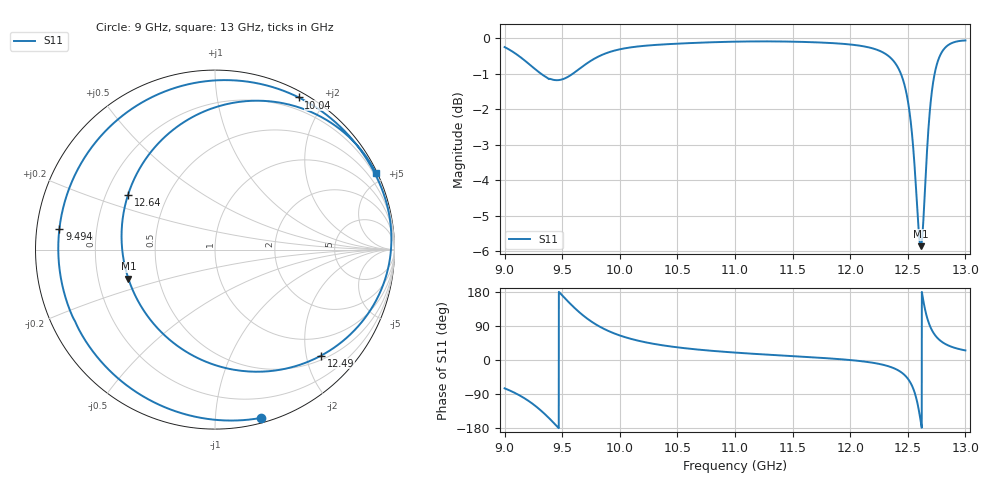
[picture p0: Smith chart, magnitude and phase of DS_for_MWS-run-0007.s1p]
! TOUCHSTONE file generated by CST DESIGN STUDIO
! Date and time: Tue Feb  4 12:42:31 2025
! Project name: C:\Work\MatlabApps\UnitCellOptimizationMatlab\CST\unitcell.cst
! Tree item: Tasks\Sweep1\SPara1\S-Parameters
! Header version: 2024
! Port assignment regex: !\s*Touchstone port\s*([0-9]+)\s*=\s*(CST MWS port|CST DES external port|CST DES block port)\s*(.+)\s* \(\"(.*)\"\)(\s*mode\s*([0-9]+))?.*
! Touchstone port assignment:
! Touchstone port 1 = CST DES external port 1 ("")
# GHz S MA R 50
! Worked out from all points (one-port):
!   4001 points, 9 GHz to 13 GHz, reference 50 ohm
!   lowest |S11| = -5.9 dB at 12.61 GHz (marker M1), VSWR 3.07, Z = 16.6 - j7.26 ohm
!   |S11| at or under -10 dB: nowhere
!   S11 on the Smith chart (normalised r, x): 9 GHz: 0.04, -1.31; 9.494 GHz: 0.07, +0.07; 10.04 GHz: 0.06, +1.69; 12.49 GHz: 0.58, -2.29; 12.64 GHz: 0.29, +0.26; 13 GHz: 0.07, +4.46
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9  0.9721 -74.7
9.148  0.938 -96.5
9.264  0.9052 -120.5
9.395  0.8767 -156.2
9.494  0.8747 172.4
9.5  0.8753 170.4
9.613  0.8966 135.8
9.715  0.9221 109.7
9.832  0.9456 87.0
10  0.9651 64.8
10.036  0.9677 61.2
10.5  0.9829 33.4
11  0.9894 19.6
11.5  0.9893 10.2
12  0.9803 -0.1
12.344  0.9409 -17.7
12.489  0.8355 -45.0
12.5  0.8172 -49.1
12.564  0.6419 -90.3
12.588  0.5546 -120.1
12.612  0.5091 -161.5
12.64  0.5722 148.0
12.667  0.6942 112.3
12.694  0.7986 88.6
12.735  0.8948 66.2
12.78  0.9459 51.6
12.867  0.9822 36.4
13  0.9932 25.3
